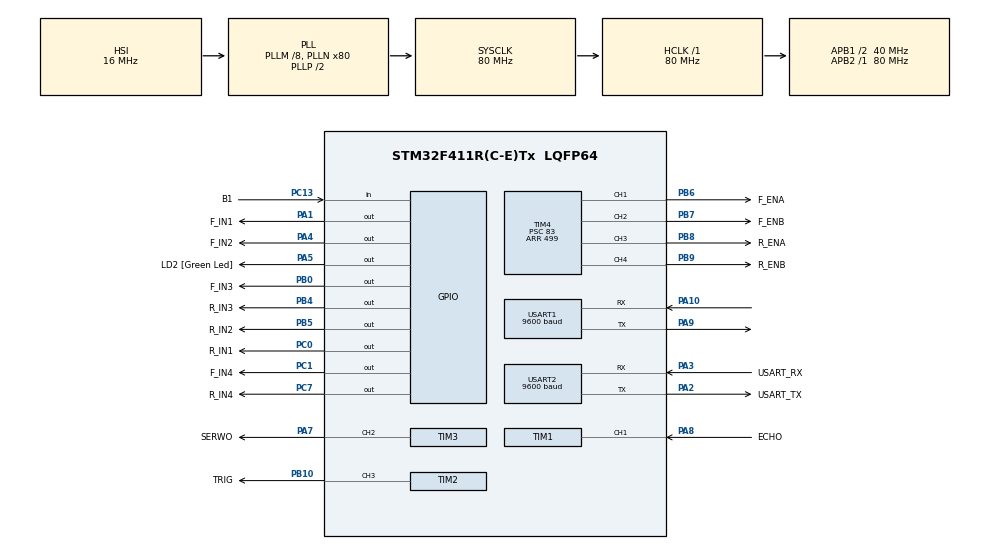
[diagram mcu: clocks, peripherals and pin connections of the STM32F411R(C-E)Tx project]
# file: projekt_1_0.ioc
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Mcu.Family=STM32F4
Mcu.Name=STM32F411R(C-E)Tx
Mcu.Package=LQFP64
NVIC.PriorityGroup=NVIC_PRIORITYGROUP_0
NVIC.TIM1_CC_IRQn=true\:0\:0\:false\:false\:true\:true\:true\:true
NVIC.USART1_IRQn=true\:0\:0\:false\:false\:true\:true\:true\:true
PA1.GPIO_Label=F_IN1
PA1.Signal=GPIO_Output
PA10.Mode=Asynchronous
PA10.Signal=USART1_RX
PA13.GPIO_Label=TMS
PA13.Mode=Serial_Wire
PA13.Signal=SYS_JTMS-SWDIO
PA14.GPIO_Label=TCK
PA14.Mode=Serial_Wire
PA14.Signal=SYS_JTCK-SWCLK
PA2.GPIO_Label=USART_TX
PA2.Mode=Asynchronous
PA2.Signal=USART2_TX
PA3.GPIO_Label=USART_RX
PA3.Mode=Asynchronous
PA3.Signal=USART2_RX
PA4.GPIO_Label=F_IN2
PA4.Signal=GPIO_Output
PA5.GPIO_Label=LD2 [Green Led]
PA5.Signal=GPIO_Output
PA7.GPIO_Label=SERWO
PA7.Signal=S_TIM3_CH2
PA8.GPIO_Label=ECHO
PA8.Signal=S_TIM1_CH1
PA9.Mode=Asynchronous
PA9.Signal=USART1_TX
PB0.GPIO_Label=F_IN3
PB0.Signal=GPIO_Output
PB10.GPIO_Label=TRIG
PB10.Signal=S_TIM2_CH3
PB3.GPIO_Label=SWO
PB3.Signal=SYS_JTDO-SWO
PB4.GPIO_Label=R_IN3
PB4.Signal=GPIO_Output
PB5.GPIO_Label=R_IN2
PB5.Signal=GPIO_Output
PB6.GPIO_Label=F_ENA
PB6.Signal=S_TIM4_CH1
PB7.GPIO_Label=F_ENB
PB7.Signal=S_TIM4_CH2
PB8.GPIO_Label=R_ENA
PB8.Signal=S_TIM4_CH3
PB9.GPIO_Label=R_ENB
PB9.Signal=S_TIM4_CH4
PC0.GPIO_Label=R_IN1
PC0.Signal=GPIO_Output
PC1.GPIO_Label=F_IN4
PC1.Signal=GPIO_Output
PC13-ANTI_TAMP.GPIO_Label=B1
PC13-ANTI_TAMP.Signal=GPIO_Input
PC14-OSC32_IN.Mode=LSE-External-Oscillator
PC14-OSC32_IN.Signal=RCC_OSC32_IN
PC15-OSC32_OUT.Mode=LSE-External-Oscillator
PC15-OSC32_OUT.Signal=RCC_OSC32_OUT
PC7.GPIO_Label=R_IN4
PC7.Signal=GPIO_Output
PH0\ -\ OSC_IN.Mode=HSE-External-Clock-Source
PH0\ -\ OSC_IN.Signal=RCC_OSC_IN
PH1\ -\ OSC_OUT.Mode=HSE-External-Clock-Source
PH1\ -\ OSC_OUT.Signal=RCC_OSC_OUT
ProjectManager.HeapSize=0x200
ProjectManager.StackSize=0x400
ProjectManager.TargetToolchain=STM32CubeIDE
RCC.48MHZClocksFreq_Value=40000000
RCC.AHBFreq_Value=80000000
RCC.APB1CLKDivider=RCC_HCLK_DIV2
RCC.APB1Freq_Value=40000000
RCC.APB1TimFreq_Value=80000000
RCC.APB2Freq_Value=80000000
RCC.APB2TimFreq_Value=80000000
RCC.CortexFreq_Value=80000000
RCC.FLatency-AdvancedSettings=FLASH_LATENCY_2
RCC.HCLKFreq_Value=80000000
RCC.HSE_VALUE=8000000
RCC.HSI_VALUE=16000000
RCC.PLLM=8
RCC.PLLN=80
RCC.SYSCLKFreq_VALUE=80000000
RCC.SYSCLKSource=RCC_SYSCLKSOURCE_PLLCLK
RCC.VCOOutputFreq_Value=160000000
SH.S_TIM1_CH1.0=TIM1_CH1,PWM_Input_1
SH.S_TIM2_CH3.0=TIM2_CH3,PWM Generation3 CH3
SH.S_TIM3_CH2.0=TIM3_CH2,PWM Generation2 CH2
SH.S_TIM4_CH1.0=TIM4_CH1,PWM Generation1 CH1
SH.S_TIM4_CH2.0=TIM4_CH2,PWM Generation2 CH2
SH.S_TIM4_CH3.0=TIM4_CH3,PWM Generation3 CH3
SH.S_TIM4_CH4.0=TIM4_CH4,PWM Generation4 CH4
TIM1.Prescaler=79
TIM2.Channel-PWM\ Generation3\ CH3=TIM_CHANNEL_3
TIM2.Period=62499
TIM2.Prescaler=79
TIM2.Pulse-PWM\ Generation3\ CH3=10
TIM3.Channel-PWM\ Generation2\ CH2=TIM_CHANNEL_2
TIM3.Period=19999
TIM3.Prescaler=79
TIM4.Channel-PWM\ Generation1\ CH1=TIM_CHANNEL_1
TIM4.Channel-PWM\ Generation2\ CH2=TIM_CHANNEL_2
TIM4.Channel-PWM\ Generation3\ CH3=TIM_CHANNEL_3
TIM4.Channel-PWM\ Generation4\ CH4=TIM_CHANNEL_4
TIM4.Period=499
TIM4.Prescaler=83
USART1.BaudRate=9600
USART1.VirtualMode=VM_ASYNC
USART2.BaudRate=9600
USART2.VirtualMode=VM_ASYNC
board=NUCLEO-F411RE

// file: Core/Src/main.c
/* USER CODE BEGIN Header */
/**
  ******************************************************************************
  * @file           : main.c
  * @brief          : Main program body
  ******************************************************************************
  * @attention
  *
  * Copyright (c) 2024 STMicroelectronics.
  * All rights reserved.
  *
  * This software is licensed under terms that can be found in the LICENSE file
  * in the root directory of this software component.
  * If no LICENSE file comes with this software, it is provided AS-IS.
  *
  ******************************************************************************
  */
/* USER CODE END Header */
#include "main.h"

/* USER CODE BEGIN Includes */
#include <math.h>
#include <string.h>

/* USER CODE END Includes */

TIM_HandleTypeDef htim1;
TIM_HandleTypeDef htim2;
TIM_HandleTypeDef htim3;
TIM_HandleTypeDef htim4;

UART_HandleTypeDef huart1;
UART_HandleTypeDef huart2;

/* USER CODE BEGIN PV */
uint16_t current_power = 0;

uint32_t distance_cm;
uint32_t captured_distances[3];
uint8_t number_of_measurements = 0;
uint8_t continue_measuring = 1;
uint8_t signal_stop = 0;
uint32_t last_distance = 0;
uint16_t no_same_distances = 0;
uint8_t is_stuck = 0;
char buffer[30];
int size;
uint16_t servo_angle_ms = 1500;

uint8_t signal_start = 0;

char *demo_string = "test\n\r";
uint8_t recv_char;
uint8_t recv_str[20];
int i=0;
char *forward = "forward";
char *backwards = "backwards";
char *left = "left";
char *right = "right";
char *ble_stop = "stop";
uint8_t ft = 76;
/* USER CODE END PV */

void SystemClock_Config(void);
static void MX_GPIO_Init(void);
static void MX_USART2_UART_Init(void);
static void MX_TIM4_Init(void);
static void MX_TIM1_Init(void);
static void MX_TIM2_Init(void);
static void MX_TIM3_Init(void);
static void MX_USART1_UART_Init(void);

/* USER CODE BEGIN 0 */

uint32_t convert_to_cm(uint32_t distance_us)
{
	return (distance_us / 58);
}

/* HC-SR-04 AND SERVO */
uint32_t median_filter(uint32_t *array) {
	uint32_t temp;
	for (int i=0; i<2; i++) {
		for (int j=i+1; j<3; j++) {
			if (array[j] < array[i])
			{
				temp = array[j];
				array[j] = array[i];
				array[i] = temp;
			}
		}
	}
	return array[2];
}

void servo_scan_left() {
	servo_angle_ms += 10;
	__HAL_TIM_SetCompare(&htim3, TIM_CHANNEL_2, servo_angle_ms);
	HAL_Delay(20);
}

void servo_scan_right() {
	servo_angle_ms -= 10;
	__HAL_TIM_SetCompare(&htim3, TIM_CHANNEL_2, servo_angle_ms);
	HAL_Delay(20);
}

void servo_center() {
	servo_angle_ms = 1500;
	__HAL_TIM_SetCompare(&htim3, TIM_CHANNEL_2, servo_angle_ms);
}

/* ENGINE CONTROL */

void accelerate(uint16_t speed) {
	current_power = 100;
	while (current_power < speed) {
		current_power += 10;
		__HAL_TIM_SetCompare(&htim4, TIM_CHANNEL_1, current_power);
		__HAL_TIM_SetCompare(&htim4, TIM_CHANNEL_2, current_power);
		__HAL_TIM_SetCompare(&htim4, TIM_CHANNEL_3, current_power);
		__HAL_TIM_SetCompare(&htim4, TIM_CHANNEL_4, current_power);
		HAL_Delay(30);
	}
	current_power = speed;
}

void move(uint16_t speed) {
	//if (current_power < speed)
	//	accelerate(speed);

	__HAL_TIM_SetCompare(&htim4, TIM_CHANNEL_1, speed);
	__HAL_TIM_SetCompare(&htim4, TIM_CHANNEL_2, speed);
	__HAL_TIM_SetCompare(&htim4, TIM_CHANNEL_3, speed);
	__HAL_TIM_SetCompare(&htim4, TIM_CHANNEL_4, speed);
	current_power = speed;
}

void stop() {
	__HAL_TIM_SetCompare(&htim4, TIM_CHANNEL_1, 0);
	__HAL_TIM_SetCompare(&htim4, TIM_CHANNEL_2, 0);
	__HAL_TIM_SetCompare(&htim4, TIM_CHANNEL_3, 0);
	__HAL_TIM_SetCompare(&htim4, TIM_CHANNEL_4, 0);
	current_power = 0;
}

void turn_forward() {
	HAL_GPIO_WritePin(F_IN1_GPIO_Port, F_IN1_Pin, 1);
	HAL_GPIO_WritePin(F_IN2_GPIO_Port, F_IN2_Pin, 0);
	HAL_GPIO_WritePin(F_IN3_GPIO_Port, F_IN3_Pin, 0);
	HAL_GPIO_WritePin(F_IN4_GPIO_Port, F_IN4_Pin, 1);

	HAL_GPIO_WritePin(R_IN1_GPIO_Port, R_IN1_Pin, 1);
	HAL_GPIO_WritePin(R_IN2_GPIO_Port, R_IN2_Pin, 0);
	HAL_GPIO_WritePin(R_IN3_GPIO_Port, R_IN3_Pin, 0);
	HAL_GPIO_WritePin(R_IN4_GPIO_Port, R_IN4_Pin, 1);
}

void turn_backwards() {
	HAL_GPIO_WritePin(F_IN1_GPIO_Port, F_IN1_Pin, 0);
	HAL_GPIO_WritePin(F_IN2_GPIO_Port, F_IN2_Pin, 1);
	HAL_GPIO_WritePin(F_IN3_GPIO_Port, F_IN3_Pin, 1);
	HAL_GPIO_WritePin(F_IN4_GPIO_Port, F_IN4_Pin, 0);

	HAL_GPIO_WritePin(R_IN1_GPIO_Port, R_IN1_Pin, 0);
	HAL_GPIO_WritePin(R_IN2_GPIO_Port, R_IN2_Pin, 1);
	HAL_GPIO_WritePin(R_IN3_GPIO_Port, R_IN3_Pin, 1);
	HAL_GPIO_WritePin(R_IN4_GPIO_Port, R_IN4_Pin, 0);
}

void turn_left() {
	HAL_GPIO_WritePin(F_IN1_GPIO_Port, F_IN1_Pin, 0);
	HAL_GPIO_WritePin(F_IN2_GPIO_Port, F_IN2_Pin, 1);
	HAL_GPIO_WritePin(F_IN3_GPIO_Port, F_IN3_Pin, 0);
	HAL_GPIO_WritePin(F_IN4_GPIO_Port, F_IN4_Pin, 1);

	HAL_GPIO_WritePin(R_IN1_GPIO_Port, R_IN1_Pin, 0);
	HAL_GPIO_WritePin(R_IN2_GPIO_Port, R_IN2_Pin, 1);
	HAL_GPIO_WritePin(R_IN3_GPIO_Port, R_IN3_Pin, 0);
	HAL_GPIO_WritePin(R_IN4_GPIO_Port, R_IN4_Pin, 1);
}

void turn_right() {
	HAL_GPIO_WritePin(F_IN1_GPIO_Port, F_IN1_Pin, 1);
	HAL_GPIO_WritePin(F_IN2_GPIO_Port, F_IN2_Pin, 0);
	HAL_GPIO_WritePin(F_IN3_GPIO_Port, F_IN3_Pin, 1);
	HAL_GPIO_WritePin(F_IN4_GPIO_Port, F_IN4_Pin, 0);

	HAL_GPIO_WritePin(R_IN1_GPIO_Port, R_IN1_Pin, 1);
	HAL_GPIO_WritePin(R_IN2_GPIO_Port, R_IN2_Pin, 0);
	HAL_GPIO_WritePin(R_IN3_GPIO_Port, R_IN3_Pin, 1);
	HAL_GPIO_WritePin(R_IN4_GPIO_Port, R_IN4_Pin, 0);
}
/*TIMER INTERRUPT*/
void HAL_TIM_IC_CaptureCallback(TIM_HandleTypeDef *htim)
{
	if(TIM1 == htim->Instance)
	{

		uint32_t echo_value;
		echo_value = HAL_TIM_ReadCapturedValue(htim, TIM_CHANNEL_2);
		echo_value = convert_to_cm(echo_value);

		captured_distances[number_of_measurements++] = echo_value;
		if(number_of_measurements > 2 && continue_measuring) {
			distance_cm = median_filter(captured_distances);
			number_of_measurements = 0;
			size = sprintf(buffer, "value=%lu\n\r", distance_cm);

			if (abs(last_distance - distance_cm) <= 25 && distance_cm < 100 && signal_start == 1) {
				no_same_distances++;
				if(no_same_distances >= 10) {
					signal_stop = 1;
				}

			}
			else {
				no_same_distances = 0;
			}

			HAL_UART_Transmit(&huart2, (uint8_t*)&buffer, size, 500);
			if (distance_cm <= 30 && signal_start) {
				signal_stop = 1;
				stop();
			}
			last_distance = distance_cm;
		}
	}
}

/*BLUETOOTH INTERRUPT*/

void HAL_UART_RxCpltCallback(UART_HandleTypeDef *huart){
    if(huart->Instance == USART1 ){
        if(recv_char == '\r'){

	    HAL_UART_Transmit(&huart2, recv_str, i, HAL_MAX_DELAY);

	    	if(!strcmp(recv_str, forward)) {
	    		turn_forward();
	    		move(475);
	    	}

	    	if(!strcmp(recv_str, backwards)) {
	    		turn_backwards();
	    		move(475);
	    	}

	    	if(!strcmp(recv_str, left)) {
	    		turn_left();
	    		move(450);
	    	}

	    	if(!strcmp(recv_str, right)) {
	    		turn_right();
	    		move(450);
	    	}

	    	if(!strcmp(recv_str, ble_stop)) {
	    		stop();
	    		sprintf(recv_str, "stop");
	    	}

			memset(recv_str, 0, i);
			i=0;
		}
        else {
		    if(recv_char != '\r' && recv_char != '\n'){
			    recv_str[i++] = recv_char;
		}
	 }
	 HAL_UART_Receive_IT(&huart1, &recv_char, 1);

    }
}

/* USER CODE END 0 */

int main(void)
{

  /* MCU Configuration--------------------------------------------------------*/

  /* Reset of all peripherals, Initializes the Flash interface and the Systick. */
  HAL_Init();

  /* Configure the system clock */
  SystemClock_Config();

  /* Initialize all configured peripherals */
  MX_GPIO_Init();
  MX_USART2_UART_Init();
  MX_TIM4_Init();
  MX_TIM1_Init();
  MX_TIM2_Init();
  MX_TIM3_Init();
  MX_USART1_UART_Init();
  /* USER CODE BEGIN 2 */
  HAL_TIM_PWM_Start(&htim4, TIM_CHANNEL_1);
  HAL_TIM_PWM_Start(&htim4, TIM_CHANNEL_2);
  HAL_TIM_PWM_Start(&htim4, TIM_CHANNEL_3);
  HAL_TIM_PWM_Start(&htim4, TIM_CHANNEL_4);
  uint16_t time = 1500;
  uint16_t power = 300;

  HAL_TIM_IC_Start_IT(&htim1, TIM_CHANNEL_1 | TIM_CHANNEL_2);
  HAL_TIM_PWM_Start(&htim2, TIM_CHANNEL_3);
  HAL_TIM_PWM_Start(&htim3, TIM_CHANNEL_2);

  HAL_UART_Receive_IT(&huart1, &recv_char, 1);

  HAL_Delay(1000);
  uint8_t check_left = 1;
  uint32_t mean_value_left = 0;
  uint32_t mean_value_right = 0;
  uint32_t last_measured_value = 0;
  uint16_t measures_while_scanning = 0;
  uint16_t max_left_value = 0;
  uint16_t max_right_value = 0;
  uint16_t servo_left_max = 0;
  uint16_t servo_right_max = 0;

  __HAL_TIM_SetCompare(&htim3, TIM_CHANNEL_2, 1500);

  HAL_Delay(1250);

  HAL_UART_Transmit(&huart1, (uint8_t*)demo_string, strlen(demo_string), HAL_MAX_DELAY);

  /* USER CODE END 2 */

  /* Infinite loop */
  /* USER CODE BEGIN WHILE */
  while (1)
  {
	  if(HAL_GPIO_ReadPin(B1_GPIO_Port, B1_Pin) == GPIO_PIN_RESET) {
		  signal_start = 1;
		  HAL_GPIO_WritePin(LD2_GPIO_Port, LD2_Pin, GPIO_PIN_SET);
	  }

	  if (signal_stop && signal_start) {
		  stop();
		  if (check_left == 1) {
			  if (servo_angle_ms < 2500) {
				  servo_scan_left();
				  if (last_measured_value != distance_cm)
				  {
					  last_measured_value = distance_cm;
					  if (last_measured_value > max_left_value) {
						  max_left_value = last_measured_value;
						  servo_left_max = servo_angle_ms;
					  }
					  mean_value_left += distance_cm;
					  measures_while_scanning++;
				  }
			  }
			  else {
				  mean_value_left = mean_value_left / measures_while_scanning;
				  measures_while_scanning = 0;
				  last_measured_value = 0;
				  check_left = 0;
				  servo_center();
			  }
		  }

		  else if (check_left == 0) {

			  if (servo_angle_ms > 500) {
				  servo_scan_right();
				  if (last_measured_value != distance_cm)
				  {
					  last_measured_value = distance_cm;
					  if (last_measured_value > max_right_value) {
						  max_right_value = last_measured_value;
						  servo_right_max = servo_angle_ms;
					  }
					  mean_value_right += distance_cm;
					  measures_while_scanning++;
				  }
			  }
			  else {
				  mean_value_right = mean_value_right / measures_while_scanning;
				  measures_while_scanning = 0;
				  last_measured_value = 0;
				  check_left = 2;
				  servo_center();
			  }
		  }

		  else {
			  turn_backwards();
			  move(300);
			  HAL_Delay(150);
			  if (mean_value_left > mean_value_right) {
				  turn_left();
				  do {
					  move(450);
					  HAL_Delay(250);
				  } while (distance_cm < max_right_value && distance_cm < 40);
			  }

			  else {
				  HAL_UART_Transmit(&huart2, "RIGHT\n\r", 7, 500);
				  turn_right();
				  do {
					  move(450);
					  HAL_Delay(250);

				  } while (distance_cm < max_right_value && distance_cm < 40);
			  }
			  stop();

			  turn_forward();

			  mean_value_right = 0;
			  mean_value_left = 0;
			  measures_while_scanning = 0;
			  last_measured_value = 0;
			  check_left = 1;
			  max_left_value = 0;
			  max_right_value = 0;
			  servo_left_max = 0;
			  servo_right_max = 0;
			  signal_stop = 0;

		  }

	  }

	  else if (signal_start){
		  turn_forward();
		  if (distance_cm < 40 && distance_cm > 25)
			  move(200);
		  else
			  move(power);
	  }

    /* USER CODE END WHILE */

  }
}

void SystemClock_Config(void)
{
  RCC_OscInitTypeDef RCC_OscInitStruct = {0};
  RCC_ClkInitTypeDef RCC_ClkInitStruct = {0};

  /** Configure the main internal regulator output voltage
  */
  __HAL_RCC_PWR_CLK_ENABLE();
  __HAL_PWR_VOLTAGESCALING_CONFIG(PWR_REGULATOR_VOLTAGE_SCALE1);

  /** Initializes the RCC Oscillators according to the specified parameters
  * in the RCC_OscInitTypeDef structure.
  */
  RCC_OscInitStruct.OscillatorType = RCC_OSCILLATORTYPE_HSI;
  RCC_OscInitStruct.HSIState = RCC_HSI_ON;
  RCC_OscInitStruct.HSICalibrationValue = RCC_HSICALIBRATION_DEFAULT;
  RCC_OscInitStruct.PLL.PLLState = RCC_PLL_ON;
  RCC_OscInitStruct.PLL.PLLSource = RCC_PLLSOURCE_HSI;
  RCC_OscInitStruct.PLL.PLLM = 8;
  RCC_OscInitStruct.PLL.PLLN = 80;
  RCC_OscInitStruct.PLL.PLLP = RCC_PLLP_DIV2;
  RCC_OscInitStruct.PLL.PLLQ = 4;
  if (HAL_RCC_OscConfig(&RCC_OscInitStruct) != HAL_OK)
  {
    Error_Handler();
  }

  /** Initializes the CPU, AHB and APB buses clocks
  */
  RCC_ClkInitStruct.ClockType = RCC_CLOCKTYPE_HCLK|RCC_CLOCKTYPE_SYSCLK
                              |RCC_CLOCKTYPE_PCLK1|RCC_CLOCKTYPE_PCLK2;
  RCC_ClkInitStruct.SYSCLKSource = RCC_SYSCLKSOURCE_PLLCLK;
  RCC_ClkInitStruct.AHBCLKDivider = RCC_SYSCLK_DIV1;
  RCC_ClkInitStruct.APB1CLKDivider = RCC_HCLK_DIV2;
  RCC_ClkInitStruct.APB2CLKDivider = RCC_HCLK_DIV1;

  if (HAL_RCC_ClockConfig(&RCC_ClkInitStruct, FLASH_LATENCY_2) != HAL_OK)
  {
    Error_Handler();
  }
}

static void MX_TIM1_Init(void)
{

  TIM_SlaveConfigTypeDef sSlaveConfig = {0};
  TIM_IC_InitTypeDef sConfigIC = {0};
  TIM_MasterConfigTypeDef sMasterConfig = {0};

  htim1.Instance = TIM1;
  htim1.Init.Prescaler = 79;
  htim1.Init.CounterMode = TIM_COUNTERMODE_UP;
  htim1.Init.Period = 65535;
  htim1.Init.ClockDivision = TIM_CLOCKDIVISION_DIV1;
  htim1.Init.RepetitionCounter = 0;
  htim1.Init.AutoReloadPreload = TIM_AUTORELOAD_PRELOAD_DISABLE;
  if (HAL_TIM_IC_Init(&htim1) != HAL_OK)
  {
    Error_Handler();
  }
  sSlaveConfig.SlaveMode = TIM_SLAVEMODE_RESET;
  sSlaveConfig.InputTrigger = TIM_TS_TI1FP1;
  sSlaveConfig.TriggerPolarity = TIM_INPUTCHANNELPOLARITY_RISING;
  sSlaveConfig.TriggerPrescaler = TIM_ICPSC_DIV1;
  sSlaveConfig.TriggerFilter = 0;
  if (HAL_TIM_SlaveConfigSynchro(&htim1, &sSlaveConfig) != HAL_OK)
  {
    Error_Handler();
  }
  sConfigIC.ICPolarity = TIM_INPUTCHANNELPOLARITY_RISING;
  sConfigIC.ICSelection = TIM_ICSELECTION_DIRECTTI;
  sConfigIC.ICPrescaler = TIM_ICPSC_DIV1;
  sConfigIC.ICFilter = 0;
  if (HAL_TIM_IC_ConfigChannel(&htim1, &sConfigIC, TIM_CHANNEL_1) != HAL_OK)
  {
    Error_Handler();
  }
  sConfigIC.ICPolarity = TIM_INPUTCHANNELPOLARITY_FALLING;
  sConfigIC.ICSelection = TIM_ICSELECTION_INDIRECTTI;
  if (HAL_TIM_IC_ConfigChannel(&htim1, &sConfigIC, TIM_CHANNEL_2) != HAL_OK)
  {
    Error_Handler();
  }
  sMasterConfig.MasterOutputTrigger = TIM_TRGO_RESET;
  sMasterConfig.MasterSlaveMode = TIM_MASTERSLAVEMODE_DISABLE;
  if (HAL_TIMEx_MasterConfigSynchronization(&htim1, &sMasterConfig) != HAL_OK)
  {
    Error_Handler();
  }

}

static void MX_TIM2_Init(void)
{

  TIM_MasterConfigTypeDef sMasterConfig = {0};
  TIM_OC_InitTypeDef sConfigOC = {0};

  htim2.Instance = TIM2;
  htim2.Init.Prescaler = 79;
  htim2.Init.CounterMode = TIM_COUNTERMODE_UP;
  htim2.Init.Period = 62499;
  htim2.Init.ClockDivision = TIM_CLOCKDIVISION_DIV1;
  htim2.Init.AutoReloadPreload = TIM_AUTORELOAD_PRELOAD_DISABLE;
  if (HAL_TIM_PWM_Init(&htim2) != HAL_OK)
  {
    Error_Handler();
  }
  sMasterConfig.MasterOutputTrigger = TIM_TRGO_RESET;
  sMasterConfig.MasterSlaveMode = TIM_MASTERSLAVEMODE_DISABLE;
  if (HAL_TIMEx_MasterConfigSynchronization(&htim2, &sMasterConfig) != HAL_OK)
  {
    Error_Handler();
  }
  sConfigOC.OCMode = TIM_OCMODE_PWM1;
  sConfigOC.Pulse = 10;
  sConfigOC.OCPolarity = TIM_OCPOLARITY_HIGH;
  sConfigOC.OCFastMode = TIM_OCFAST_DISABLE;
  if (HAL_TIM_PWM_ConfigChannel(&htim2, &sConfigOC, TIM_CHANNEL_3) != HAL_OK)
  {
    Error_Handler();
  }
  HAL_TIM_MspPostInit(&htim2);

}

static void MX_TIM3_Init(void)
{

  TIM_MasterConfigTypeDef sMasterConfig = {0};
  TIM_OC_InitTypeDef sConfigOC = {0};

  htim3.Instance = TIM3;
  htim3.Init.Prescaler = 79;
  htim3.Init.CounterMode = TIM_COUNTERMODE_UP;
  htim3.Init.Period = 19999;
  htim3.Init.ClockDivision = TIM_CLOCKDIVISION_DIV1;
  htim3.Init.AutoReloadPreload = TIM_AUTORELOAD_PRELOAD_DISABLE;
  if (HAL_TIM_PWM_Init(&htim3) != HAL_OK)
  {
    Error_Handler();
  }
  sMasterConfig.MasterOutputTrigger = TIM_TRGO_RESET;
  sMasterConfig.MasterSlaveMode = TIM_MASTERSLAVEMODE_DISABLE;
  if (HAL_TIMEx_MasterConfigSynchronization(&htim3, &sMasterConfig) != HAL_OK)
  {
    Error_Handler();
  }
  sConfigOC.OCMode = TIM_OCMODE_PWM1;
  sConfigOC.Pulse = 0;
  sConfigOC.OCPolarity = TIM_OCPOLARITY_HIGH;
  sConfigOC.OCFastMode = TIM_OCFAST_DISABLE;
  if (HAL_TIM_PWM_ConfigChannel(&htim3, &sConfigOC, TIM_CHANNEL_2) != HAL_OK)
  {
    Error_Handler();
  }
  HAL_TIM_MspPostInit(&htim3);

}

static void MX_TIM4_Init(void)
{

  TIM_MasterConfigTypeDef sMasterConfig = {0};
  TIM_OC_InitTypeDef sConfigOC = {0};

  htim4.Instance = TIM4;
  htim4.Init.Prescaler = 83;
  htim4.Init.CounterMode = TIM_COUNTERMODE_UP;
  htim4.Init.Period = 499;
  htim4.Init.ClockDivision = TIM_CLOCKDIVISION_DIV1;
  htim4.Init.AutoReloadPreload = TIM_AUTORELOAD_PRELOAD_DISABLE;
  if (HAL_TIM_PWM_Init(&htim4) != HAL_OK)
  {
    Error_Handler();
  }
  sMasterConfig.MasterOutputTrigger = TIM_TRGO_RESET;
  sMasterConfig.MasterSlaveMode = TIM_MASTERSLAVEMODE_DISABLE;
  if (HAL_TIMEx_MasterConfigSynchronization(&htim4, &sMasterConfig) != HAL_OK)
  {
    Error_Handler();
  }
  sConfigOC.OCMode = TIM_OCMODE_PWM1;
  sConfigOC.Pulse = 0;
  sConfigOC.OCPolarity = TIM_OCPOLARITY_HIGH;
  sConfigOC.OCFastMode = TIM_OCFAST_DISABLE;
  if (HAL_TIM_PWM_ConfigChannel(&htim4, &sConfigOC, TIM_CHANNEL_1) != HAL_OK)
  {
    Error_Handler();
  }
  if (HAL_TIM_PWM_ConfigChannel(&htim4, &sConfigOC, TIM_CHANNEL_2) != HAL_OK)
  {
    Error_Handler();
  }
  if (HAL_TIM_PWM_ConfigChannel(&htim4, &sConfigOC, TIM_CHANNEL_3) != HAL_OK)
  {
    Error_Handler();
  }
  if (HAL_TIM_PWM_ConfigChannel(&htim4, &sConfigOC, TIM_CHANNEL_4) != HAL_OK)
  {
    Error_Handler();
  }
  HAL_TIM_MspPostInit(&htim4);

}

static void MX_USART1_UART_Init(void)
{

  huart1.Instance = USART1;
  huart1.Init.BaudRate = 9600;
  huart1.Init.WordLength = UART_WORDLENGTH_8B;
  huart1.Init.StopBits = UART_STOPBITS_1;
  huart1.Init.Parity = UART_PARITY_NONE;
  huart1.Init.Mode = UART_MODE_TX_RX;
  huart1.Init.HwFlowCtl = UART_HWCONTROL_NONE;
  huart1.Init.OverSampling = UART_OVERSAMPLING_16;
  if (HAL_UART_Init(&huart1) != HAL_OK)
  {
    Error_Handler();
  }

}

static void MX_USART2_UART_Init(void)
{

  huart2.Instance = USART2;
  huart2.Init.BaudRate = 9600;
  huart2.Init.WordLength = UART_WORDLENGTH_8B;
  huart2.Init.StopBits = UART_STOPBITS_1;
  huart2.Init.Parity = UART_PARITY_NONE;
  huart2.Init.Mode = UART_MODE_TX_RX;
  huart2.Init.HwFlowCtl = UART_HWCONTROL_NONE;
  huart2.Init.OverSampling = UART_OVERSAMPLING_16;
  if (HAL_UART_Init(&huart2) != HAL_OK)
  {
    Error_Handler();
  }

}

static void MX_GPIO_Init(void)
{
  GPIO_InitTypeDef GPIO_InitStruct = {0};

  /* GPIO Ports Clock Enable */
  __HAL_RCC_GPIOC_CLK_ENABLE();
  __HAL_RCC_GPIOH_CLK_ENABLE();
  __HAL_RCC_GPIOA_CLK_ENABLE();
  __HAL_RCC_GPIOB_CLK_ENABLE();

  /*Configure GPIO pin Output Level */
  HAL_GPIO_WritePin(GPIOC, R_IN1_Pin|F_IN4_Pin|R_IN4_Pin, GPIO_PIN_RESET);

  /*Configure GPIO pin Output Level */
  HAL_GPIO_WritePin(GPIOA, F_IN1_Pin|F_IN2_Pin|LD2_Pin, GPIO_PIN_RESET);

  /*Configure GPIO pin Output Level */
  HAL_GPIO_WritePin(GPIOB, F_IN3_Pin|R_IN3_Pin|R_IN2_Pin, GPIO_PIN_RESET);

  /*Configure GPIO pin : B1_Pin */
  GPIO_InitStruct.Pin = B1_Pin;
  GPIO_InitStruct.Mode = GPIO_MODE_INPUT;
  GPIO_InitStruct.Pull = GPIO_NOPULL;
  HAL_GPIO_Init(B1_GPIO_Port, &GPIO_InitStruct);

  /*Configure GPIO pins : R_IN1_Pin F_IN4_Pin R_IN4_Pin */
  GPIO_InitStruct.Pin = R_IN1_Pin|F_IN4_Pin|R_IN4_Pin;
  GPIO_InitStruct.Mode = GPIO_MODE_OUTPUT_PP;
  GPIO_InitStruct.Pull = GPIO_NOPULL;
  GPIO_InitStruct.Speed = GPIO_SPEED_FREQ_LOW;
  HAL_GPIO_Init(GPIOC, &GPIO_InitStruct);

  /*Configure GPIO pins : F_IN1_Pin F_IN2_Pin LD2_Pin */
  GPIO_InitStruct.Pin = F_IN1_Pin|F_IN2_Pin|LD2_Pin;
  GPIO_InitStruct.Mode = GPIO_MODE_OUTPUT_PP;
  GPIO_InitStruct.Pull = GPIO_NOPULL;
  GPIO_InitStruct.Speed = GPIO_SPEED_FREQ_LOW;
  HAL_GPIO_Init(GPIOA, &GPIO_InitStruct);

  /*Configure GPIO pins : F_IN3_Pin R_IN3_Pin R_IN2_Pin */
  GPIO_InitStruct.Pin = F_IN3_Pin|R_IN3_Pin|R_IN2_Pin;
  GPIO_InitStruct.Mode = GPIO_MODE_OUTPUT_PP;
  GPIO_InitStruct.Pull = GPIO_NOPULL;
  GPIO_InitStruct.Speed = GPIO_SPEED_FREQ_LOW;
  HAL_GPIO_Init(GPIOB, &GPIO_InitStruct);

}

void Error_Handler(void)
{
  __disable_irq();
  while (1)
  {
  }
}
